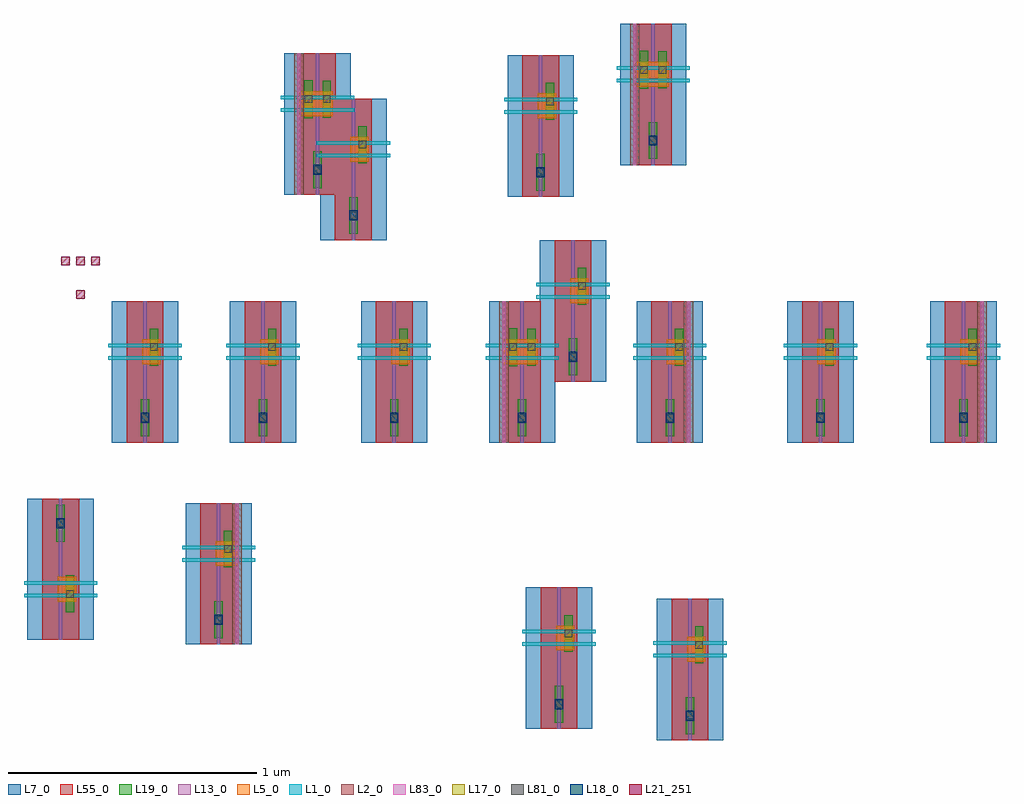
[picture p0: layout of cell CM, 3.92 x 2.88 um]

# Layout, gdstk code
import gdstk
lib = gdstk.Library(unit=1e-6, precision=1e-09)
def R(c, l, rs):  # rectangles x0, y0, x1, y1
    for r in rs: c.add(gdstk.rectangle(r[:2], r[2:], *l))
def A(c, l, x, y, w, h, nx, ny, dx, dy):  # array of equal rectangles
    R(c, l, [(x+i*dx, y+j*dy, x+i*dx+w, y+j*dy+h) for i in range(nx) for j in range(ny)])
L1_0 = (1, 0)
L2_0 = (2, 0)
L5_0 = (5, 0)
L7_0 = (7, 0)
L13_0 = (13, 0)
L17_0 = (17, 0)
L18_0 = (18, 0)
L19_0 = (19, 0)
L21_251 = (21, 251)
L55_0 = (55, 0)
L81_0 = (81, 0)
L83_0 = (83, 0)

nfet_pcell_acef = lib.new_cell('nfet_pcell_acef')
R(nfet_pcell_acef, L1_0, [(-0.14,0,0.154,0.014), (-0.14,0.05,0.154,0.064)])
R(nfet_pcell_acef, L2_0, [(-0.086,-0.333,-0.048,0.235)])
R(nfet_pcell_acef, L5_0, [(-0.067,-0.018,0,0.082), (0,-0.018,0.014,0.082), (0.014,-0.018,0.069,0.082)])
R(nfet_pcell_acef, L7_0, [(-0.126,-0.333,0.14,0.235)])
R(nfet_pcell_acef, L13_0, [(-0.074,-0.333,-0.06,0.235), (-0.074,-0.333,-0.06,0.235), (0,-0.333,0.014,0.235)])
R(nfet_pcell_acef, L17_0, [(-0.045,0.025,-0.015,0.082), (0.029,0.025,0.059,0.082)])
R(nfet_pcell_acef, L18_0, [(-0.01,-0.254,0.024,-0.214)])
R(nfet_pcell_acef, L19_0, [(-0.01,-0.308,0.024,-0.16), (-0.01,-0.308,0.024,-0.16), (-0.047,-0.026,-0.013,0.126), (-0.047,-0.024,-0.013,0.124), (0.027,-0.024,0.061,0.124), (0.027,-0.02,0.061,0.12)])
R(nfet_pcell_acef, L55_0, [(-0.067,-0.333,0.081,0.235)])
R(nfet_pcell_acef, L81_0, [(-0.008,-0.249,0.022,-0.219), (-0.045,0.035,-0.015,0.065), (0.029,0.035,0.059,0.065)])
R(nfet_pcell_acef, L83_0, [(-0.074,-0.333,-0.06,0.235)])

nfet_pcell_66c6 = lib.new_cell('nfet_pcell_66c6')
R(nfet_pcell_66c6, L1_0, [(-0.14,0,0.154,0.014), (-0.14,0.05,0.154,0.064)])
R(nfet_pcell_66c6, L5_0, [(-0.005,-0.018,0,0.082), (0,-0.018,0.014,0.082), (0.014,-0.018,0.069,0.082)])
R(nfet_pcell_66c6, L7_0, [(-0.126,-0.333,0.14,0.235)])
R(nfet_pcell_66c6, L13_0, [(0,-0.333,0.014,0.235)])
R(nfet_pcell_66c6, L17_0, [(0.029,0.025,0.059,0.082)])
R(nfet_pcell_66c6, L18_0, [(-0.01,-0.254,0.024,-0.214)])
R(nfet_pcell_66c6, L19_0, [(-0.01,-0.308,0.024,-0.16), (-0.01,-0.308,0.024,-0.16), (0.027,-0.024,0.061,0.124), (0.027,-0.02,0.061,0.12)])
R(nfet_pcell_66c6, L55_0, [(-0.067,-0.333,0.081,0.235)])
R(nfet_pcell_66c6, L81_0, [(-0.008,-0.249,0.022,-0.219), (0.029,0.035,0.059,0.065)])

nfet_pcell_9fc7 = lib.new_cell('nfet_pcell_9fc7')
R(nfet_pcell_9fc7, L1_0, [(-0.14,0,0.154,0.014), (-0.14,0.05,0.154,0.064)])
R(nfet_pcell_9fc7, L2_0, [(0.062,-0.333,0.1,0.235)])
R(nfet_pcell_9fc7, L5_0, [(-0.005,-0.018,0,0.082), (0,-0.018,0.014,0.082), (0.014,-0.018,0.081,0.082)])
R(nfet_pcell_9fc7, L7_0, [(-0.126,-0.333,0.14,0.235)])
R(nfet_pcell_9fc7, L13_0, [(0,-0.333,0.014,0.235), (0.074,-0.333,0.088,0.235), (0.074,-0.333,0.088,0.235)])
R(nfet_pcell_9fc7, L17_0, [(0.029,0.025,0.059,0.082)])
R(nfet_pcell_9fc7, L18_0, [(-0.01,-0.254,0.024,-0.214)])
R(nfet_pcell_9fc7, L19_0, [(-0.01,-0.308,0.024,-0.16), (-0.01,-0.308,0.024,-0.16), (0.027,-0.024,0.061,0.124), (0.027,-0.02,0.061,0.12)])
R(nfet_pcell_9fc7, L55_0, [(-0.067,-0.333,0.081,0.235)])
R(nfet_pcell_9fc7, L81_0, [(-0.008,-0.249,0.022,-0.219), (0.029,0.035,0.059,0.065)])
R(nfet_pcell_9fc7, L83_0, [(0.074,-0.333,0.088,0.235)])

c_cm = lib.new_cell('CM')
A(c_cm, L21_251, -0.872, 0.134, 0.034, 0.034, 3, 1, 0.06, 0)
R(c_cm, L21_251, [(-0.812,0,-0.778,0.034)])
c_cm.add(gdstk.Reference(nfet_pcell_acef, (0.15,0.751)))
c_cm.add(gdstk.Reference(nfet_pcell_acef, (1.498,0.869)))
c_cm.add(gdstk.Reference(nfet_pcell_acef, (0.972,-0.245)))
c_cm.add(gdstk.Reference(nfet_pcell_66c6, (0.458,-0.245)))
c_cm.add(gdstk.Reference(nfet_pcell_66c6, (-0.069,-0.245)))
c_cm.add(gdstk.Reference(nfet_pcell_66c6, (-0.882,-1.136), x_reflection=True))
c_cm.add(gdstk.Reference(nfet_pcell_66c6, (-0.543,-0.245)))
c_cm.add(gdstk.Reference(nfet_pcell_66c6, (0.294,0.568)))
c_cm.add(gdstk.Reference(nfet_pcell_66c6, (1.176,0)))
c_cm.add(gdstk.Reference(nfet_pcell_66c6, (1.646,-1.441)))
c_cm.add(gdstk.Reference(nfet_pcell_66c6, (2.17,-0.245)))
c_cm.add(gdstk.Reference(nfet_pcell_66c6, (1.12,-1.395)))
c_cm.add(gdstk.Reference(nfet_pcell_66c6, (1.046,0.742)))
c_cm.add(gdstk.Reference(nfet_pcell_9fc7, (-0.247,-1.056)))
c_cm.add(gdstk.Reference(nfet_pcell_9fc7, (2.744,-0.245)))
c_cm.add(gdstk.Reference(nfet_pcell_9fc7, (1.565,-0.245)))

lib.write_gds('CM.gds')
